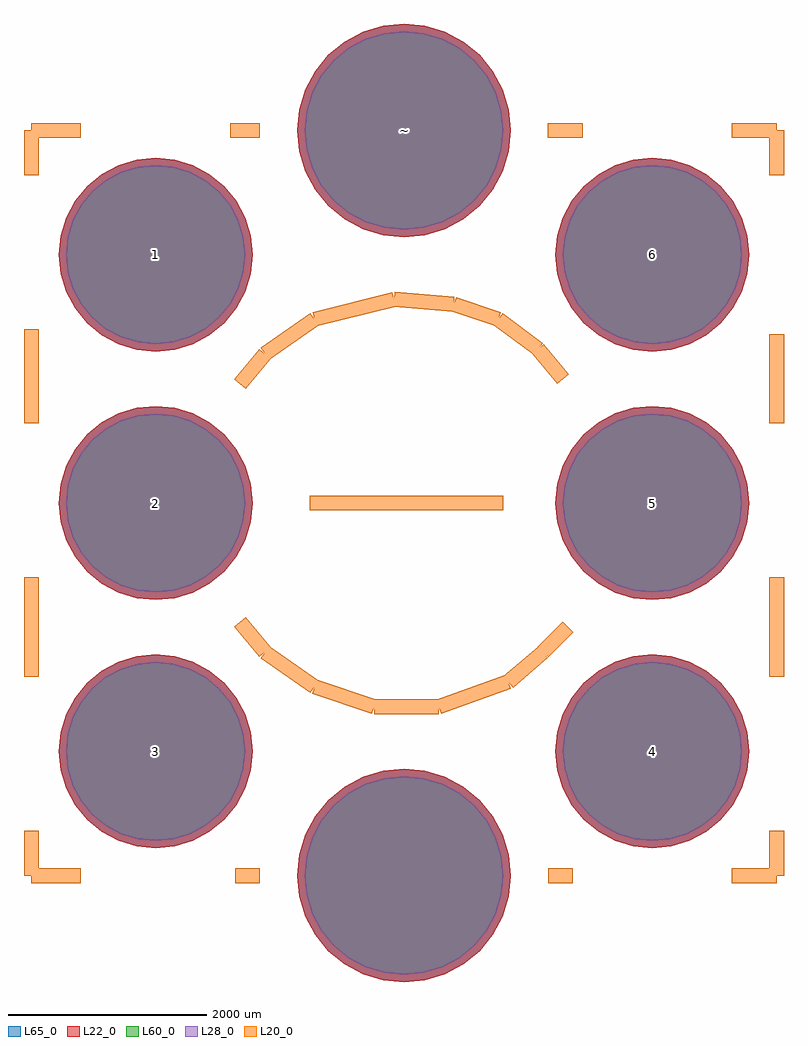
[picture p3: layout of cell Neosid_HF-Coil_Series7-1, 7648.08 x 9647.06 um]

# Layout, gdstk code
import gdstk
lib = gdstk.Library(unit=1e-6, precision=1e-09)
def P(c, l, *ps):  # polygons
    for p in ps: c.add(gdstk.Polygon(p, *l))
L20_0 = (20, 0)
L22_0 = (22, 0)
L28_0 = (28, 0)
L60_0 = (60, 0)
L65_0 = (65, 0)

neosid_hf_coil_series7_1 = lib.new_cell('Neosid_HF-Coil_Series7-1')
P(neosid_hf_coil_series7_1, L22_0, [(1074.49,-3749.04),(1053.844,-3539.417),(992.699,-3337.85),(893.406,-3152.085),(759.779,-2989.261),(596.955,-2855.634),(411.19,-2756.341),(209.623,-2695.196),(0,-2674.55),(-209.623,-2695.196),(-411.19,-2756.341),(-596.955,-2855.634),(-759.779,-2989.261),(-893.406,-3152.085),(-992.699,-3337.85),(-1053.844,-3539.417),(-1074.49,-3749.04),(-1053.844,-3958.663),(-992.699,-4160.23),(-893.406,-4345.995),(-759.779,-4508.819),(-596.955,-4642.446),(-411.19,-4741.739),(-209.623,-4802.884),(0,-4823.53),(209.623,-4802.884),(411.19,-4741.739),(596.955,-4642.446),(759.779,-4508.819),(893.406,-4345.995),(992.699,-4160.23),(1053.844,-3958.663)],
  [(1074.49,3749.04),(1053.844,3958.663),(992.699,4160.23),(893.406,4345.995),(759.779,4508.819),(596.955,4642.446),(411.19,4741.739),(209.623,4802.884),(0,4823.53),(-209.623,4802.884),(-411.19,4741.739),(-596.955,4642.446),(-759.779,4508.819),(-893.406,4345.995),(-992.699,4160.23),(-1053.844,3958.663),(-1074.49,3749.04),(-1053.844,3539.417),(-992.699,3337.85),(-893.406,3152.085),(-759.779,2989.261),(-596.955,2855.634),(-411.19,2756.341),(-209.623,2695.196),(0,2674.55),(209.623,2695.196),(411.19,2756.341),(596.955,2855.634),(759.779,2989.261),(893.406,3152.085),(992.699,3337.85),(1053.844,3539.417)],
  [(3474.79,-2499.36),(3456.047,-2309.063),(3400.54,-2126.079),(3310.4,-1957.44),(3189.093,-1809.627),(3041.28,-1688.32),(2872.641,-1598.18),(2689.657,-1542.673),(2499.36,-1523.93),(2309.063,-1542.673),(2126.079,-1598.18),(1957.44,-1688.32),(1809.627,-1809.627),(1688.32,-1957.44),(1598.18,-2126.079),(1542.673,-2309.063),(1523.93,-2499.36),(1542.673,-2689.657),(1598.18,-2872.641),(1688.32,-3041.28),(1809.627,-3189.093),(1957.44,-3310.4),(2126.079,-3400.54),(2309.063,-3456.047),(2499.36,-3474.79),(2689.657,-3456.047),(2872.641,-3400.54),(3041.28,-3310.4),(3189.093,-3189.093),(3310.4,-3041.28),(3400.54,-2872.641),(3456.047,-2689.657)],
  [(3474.79,0),(3456.047,190.297),(3400.54,373.281),(3310.4,541.92),(3189.093,689.733),(3041.28,811.04),(2872.641,901.18),(2689.657,956.687),(2499.36,975.43),(2309.063,956.687),(2126.079,901.18),(1957.44,811.04),(1809.627,689.733),(1688.32,541.92),(1598.18,373.281),(1542.673,190.297),(1523.93,0),(1542.673,-190.297),(1598.18,-373.281),(1688.32,-541.92),(1809.627,-689.733),(1957.44,-811.04),(2126.079,-901.18),(2309.063,-956.687),(2499.36,-975.43),(2689.657,-956.687),(2872.641,-901.18),(3041.28,-811.04),(3189.093,-689.733),(3310.4,-541.92),(3400.54,-373.281),(3456.047,-190.297)],
  [(3474.79,2499.36),(3456.047,2689.657),(3400.54,2872.641),(3310.4,3041.28),(3189.093,3189.093),(3041.28,3310.4),(2872.641,3400.54),(2689.657,3456.047),(2499.36,3474.79),(2309.063,3456.047),(2126.079,3400.54),(1957.44,3310.4),(1809.627,3189.093),(1688.32,3041.28),(1598.18,2872.641),(1542.673,2689.657),(1523.93,2499.36),(1542.673,2309.063),(1598.18,2126.079),(1688.32,1957.44),(1809.627,1809.627),(1957.44,1688.32),(2126.079,1598.18),(2309.063,1542.673),(2499.36,1523.93),(2689.657,1542.673),(2872.641,1598.18),(3041.28,1688.32),(3189.093,1809.627),(3310.4,1957.44),(3400.54,2126.079),(3456.047,2309.063)],
  [(-1523.93,-2499.36),(-1542.673,-2309.063),(-1598.18,-2126.079),(-1688.32,-1957.44),(-1809.627,-1809.627),(-1957.44,-1688.32),(-2126.079,-1598.18),(-2309.063,-1542.673),(-2499.36,-1523.93),(-2689.657,-1542.673),(-2872.641,-1598.18),(-3041.28,-1688.32),(-3189.093,-1809.627),(-3310.4,-1957.44),(-3400.54,-2126.079),(-3456.047,-2309.063),(-3474.79,-2499.36),(-3456.047,-2689.657),(-3400.54,-2872.641),(-3310.4,-3041.28),(-3189.093,-3189.093),(-3041.28,-3310.4),(-2872.641,-3400.54),(-2689.657,-3456.047),(-2499.36,-3474.79),(-2309.063,-3456.047),(-2126.079,-3400.54),(-1957.44,-3310.4),(-1809.627,-3189.093),(-1688.32,-3041.28),(-1598.18,-2872.641),(-1542.673,-2689.657)],
  [(-1523.93,0),(-1542.673,190.297),(-1598.18,373.281),(-1688.32,541.92),(-1809.627,689.733),(-1957.44,811.04),(-2126.079,901.18),(-2309.063,956.687),(-2499.36,975.43),(-2689.657,956.687),(-2872.641,901.18),(-3041.28,811.04),(-3189.093,689.733),(-3310.4,541.92),(-3400.54,373.281),(-3456.047,190.297),(-3474.79,0),(-3456.047,-190.297),(-3400.54,-373.281),(-3310.4,-541.92),(-3189.093,-689.733),(-3041.28,-811.04),(-2872.641,-901.18),(-2689.657,-956.687),(-2499.36,-975.43),(-2309.063,-956.687),(-2126.079,-901.18),(-1957.44,-811.04),(-1809.627,-689.733),(-1688.32,-541.92),(-1598.18,-373.281),(-1542.673,-190.297)],
  [(-1523.93,2499.36),(-1542.673,2689.657),(-1598.18,2872.641),(-1688.32,3041.28),(-1809.627,3189.093),(-1957.44,3310.4),(-2126.079,3400.54),(-2309.063,3456.047),(-2499.36,3474.79),(-2689.657,3456.047),(-2872.641,3400.54),(-3041.28,3310.4),(-3189.093,3189.093),(-3310.4,3041.28),(-3400.54,2872.641),(-3456.047,2689.657),(-3474.79,2499.36),(-3456.047,2309.063),(-3400.54,2126.079),(-3310.4,1957.44),(-3189.093,1809.627),(-3041.28,1688.32),(-2872.641,1598.18),(-2689.657,1542.673),(-2499.36,1523.93),(-2309.063,1542.673),(-2126.079,1598.18),(-1957.44,1688.32),(-1809.627,1809.627),(-1688.32,1957.44),(-1598.18,2126.079),(-1542.673,2309.063)])
P(neosid_hf_coil_series7_1, L28_0, [(999.49,-3749.04),(980.285,-3554.049),(923.408,-3366.552),(831.046,-3193.753),(706.746,-3042.294),(555.287,-2917.994),(382.488,-2825.632),(194.991,-2768.755),(0,-2749.55),(-194.991,-2768.755),(-382.488,-2825.632),(-555.287,-2917.994),(-706.746,-3042.294),(-831.046,-3193.753),(-923.408,-3366.552),(-980.285,-3554.049),(-999.49,-3749.04),(-980.285,-3944.031),(-923.408,-4131.528),(-831.046,-4304.327),(-706.746,-4455.786),(-555.287,-4580.086),(-382.488,-4672.448),(-194.991,-4729.325),(0,-4748.53),(194.991,-4729.325),(382.488,-4672.448),(555.287,-4580.086),(706.746,-4455.786),(831.046,-4304.327),(923.408,-4131.528),(980.285,-3944.031)],
  [(999.49,3749.04),(980.285,3944.031),(923.408,4131.528),(831.046,4304.327),(706.746,4455.786),(555.287,4580.086),(382.488,4672.448),(194.991,4729.325),(0,4748.53),(-194.991,4729.325),(-382.488,4672.448),(-555.287,4580.086),(-706.746,4455.786),(-831.046,4304.327),(-923.408,4131.528),(-980.285,3944.031),(-999.49,3749.04),(-980.285,3554.049),(-923.408,3366.552),(-831.046,3193.753),(-706.746,3042.294),(-555.287,2917.994),(-382.488,2825.632),(-194.991,2768.755),(0,2749.55),(194.991,2768.755),(382.488,2825.632),(555.287,2917.994),(706.746,3042.294),(831.046,3193.753),(923.408,3366.552),(980.285,3554.049)],
  [(3399.79,-2499.36),(3382.488,-2323.695),(3331.249,-2154.78),(3248.04,-1999.108),(3136.06,-1862.66),(2999.612,-1750.68),(2843.94,-1667.471),(2675.025,-1616.232),(2499.36,-1598.93),(2323.695,-1616.232),(2154.78,-1667.471),(1999.108,-1750.68),(1862.66,-1862.66),(1750.68,-1999.108),(1667.471,-2154.78),(1616.232,-2323.695),(1598.93,-2499.36),(1616.232,-2675.025),(1667.471,-2843.94),(1750.68,-2999.612),(1862.66,-3136.06),(1999.108,-3248.04),(2154.78,-3331.249),(2323.695,-3382.488),(2499.36,-3399.79),(2675.025,-3382.488),(2843.94,-3331.249),(2999.612,-3248.04),(3136.06,-3136.06),(3248.04,-2999.612),(3331.249,-2843.94),(3382.488,-2675.025)],
  [(3399.79,0),(3382.488,175.665),(3331.249,344.58),(3248.04,500.252),(3136.06,636.7),(2999.612,748.68),(2843.94,831.889),(2675.025,883.128),(2499.36,900.43),(2323.695,883.128),(2154.78,831.889),(1999.108,748.68),(1862.66,636.7),(1750.68,500.252),(1667.471,344.58),(1616.232,175.665),(1598.93,0),(1616.232,-175.665),(1667.471,-344.58),(1750.68,-500.252),(1862.66,-636.7),(1999.108,-748.68),(2154.78,-831.889),(2323.695,-883.128),(2499.36,-900.43),(2675.025,-883.128),(2843.94,-831.889),(2999.612,-748.68),(3136.06,-636.7),(3248.04,-500.252),(3331.249,-344.58),(3382.488,-175.665)],
  [(3399.79,2499.36),(3382.488,2675.025),(3331.249,2843.94),(3248.04,2999.612),(3136.06,3136.06),(2999.612,3248.04),(2843.94,3331.249),(2675.025,3382.488),(2499.36,3399.79),(2323.695,3382.488),(2154.78,3331.249),(1999.108,3248.04),(1862.66,3136.06),(1750.68,2999.612),(1667.471,2843.94),(1616.232,2675.025),(1598.93,2499.36),(1616.232,2323.695),(1667.471,2154.78),(1750.68,1999.108),(1862.66,1862.66),(1999.108,1750.68),(2154.78,1667.471),(2323.695,1616.232),(2499.36,1598.93),(2675.025,1616.232),(2843.94,1667.471),(2999.612,1750.68),(3136.06,1862.66),(3248.04,1999.108),(3331.249,2154.78),(3382.488,2323.695)],
  [(-1598.93,-2499.36),(-1616.232,-2323.695),(-1667.471,-2154.78),(-1750.68,-1999.108),(-1862.66,-1862.66),(-1999.108,-1750.68),(-2154.78,-1667.471),(-2323.695,-1616.232),(-2499.36,-1598.93),(-2675.025,-1616.232),(-2843.94,-1667.471),(-2999.612,-1750.68),(-3136.06,-1862.66),(-3248.04,-1999.108),(-3331.249,-2154.78),(-3382.488,-2323.695),(-3399.79,-2499.36),(-3382.488,-2675.025),(-3331.249,-2843.94),(-3248.04,-2999.612),(-3136.06,-3136.06),(-2999.612,-3248.04),(-2843.94,-3331.249),(-2675.025,-3382.488),(-2499.36,-3399.79),(-2323.695,-3382.488),(-2154.78,-3331.249),(-1999.108,-3248.04),(-1862.66,-3136.06),(-1750.68,-2999.612),(-1667.471,-2843.94),(-1616.232,-2675.025)],
  [(-1598.93,0),(-1616.232,175.665),(-1667.471,344.58),(-1750.68,500.252),(-1862.66,636.7),(-1999.108,748.68),(-2154.78,831.889),(-2323.695,883.128),(-2499.36,900.43),(-2675.025,883.128),(-2843.94,831.889),(-2999.612,748.68),(-3136.06,636.7),(-3248.04,500.252),(-3331.249,344.58),(-3382.488,175.665),(-3399.79,0),(-3382.488,-175.665),(-3331.249,-344.58),(-3248.04,-500.252),(-3136.06,-636.7),(-2999.612,-748.68),(-2843.94,-831.889),(-2675.025,-883.128),(-2499.36,-900.43),(-2323.695,-883.128),(-2154.78,-831.889),(-1999.108,-748.68),(-1862.66,-636.7),(-1750.68,-500.252),(-1667.471,-344.58),(-1616.232,-175.665)],
  [(-1598.93,2499.36),(-1616.232,2675.025),(-1667.471,2843.94),(-1750.68,2999.612),(-1862.66,3136.06),(-1999.108,3248.04),(-2154.78,3331.249),(-2323.695,3382.488),(-2499.36,3399.79),(-2675.025,3382.488),(-2843.94,3331.249),(-2999.612,3248.04),(-3136.06,3136.06),(-3248.04,2999.612),(-3331.249,2843.94),(-3382.488,2675.025),(-3399.79,2499.36),(-3382.488,2323.695),(-3331.249,2154.78),(-3248.04,1999.108),(-3136.06,1862.66),(-2999.612,1750.68),(-2843.94,1667.471),(-2675.025,1616.232),(-2499.36,1598.93),(-2323.695,1616.232),(-2154.78,1667.471),(-1999.108,1750.68),(-1862.66,1862.66),(-1750.68,1999.108),(-1667.471,2154.78),(-1616.232,2323.695)])
P(neosid_hf_coil_series7_1, L60_0, [(999.49,-3749.04),(980.285,-3554.049),(923.408,-3366.552),(831.046,-3193.753),(706.746,-3042.294),(555.287,-2917.994),(382.488,-2825.632),(194.991,-2768.755),(0,-2749.55),(-194.991,-2768.755),(-382.488,-2825.632),(-555.287,-2917.994),(-706.746,-3042.294),(-831.046,-3193.753),(-923.408,-3366.552),(-980.285,-3554.049),(-999.49,-3749.04),(-980.285,-3944.031),(-923.408,-4131.528),(-831.046,-4304.327),(-706.746,-4455.786),(-555.287,-4580.086),(-382.488,-4672.448),(-194.991,-4729.325),(0,-4748.53),(194.991,-4729.325),(382.488,-4672.448),(555.287,-4580.086),(706.746,-4455.786),(831.046,-4304.327),(923.408,-4131.528),(980.285,-3944.031)],
  [(999.49,3749.04),(980.285,3944.031),(923.408,4131.528),(831.046,4304.327),(706.746,4455.786),(555.287,4580.086),(382.488,4672.448),(194.991,4729.325),(0,4748.53),(-194.991,4729.325),(-382.488,4672.448),(-555.287,4580.086),(-706.746,4455.786),(-831.046,4304.327),(-923.408,4131.528),(-980.285,3944.031),(-999.49,3749.04),(-980.285,3554.049),(-923.408,3366.552),(-831.046,3193.753),(-706.746,3042.294),(-555.287,2917.994),(-382.488,2825.632),(-194.991,2768.755),(0,2749.55),(194.991,2768.755),(382.488,2825.632),(555.287,2917.994),(706.746,3042.294),(831.046,3193.753),(923.408,3366.552),(980.285,3554.049)],
  [(3399.79,-2499.36),(3382.488,-2323.695),(3331.249,-2154.78),(3248.04,-1999.108),(3136.06,-1862.66),(2999.612,-1750.68),(2843.94,-1667.471),(2675.025,-1616.232),(2499.36,-1598.93),(2323.695,-1616.232),(2154.78,-1667.471),(1999.108,-1750.68),(1862.66,-1862.66),(1750.68,-1999.108),(1667.471,-2154.78),(1616.232,-2323.695),(1598.93,-2499.36),(1616.232,-2675.025),(1667.471,-2843.94),(1750.68,-2999.612),(1862.66,-3136.06),(1999.108,-3248.04),(2154.78,-3331.249),(2323.695,-3382.488),(2499.36,-3399.79),(2675.025,-3382.488),(2843.94,-3331.249),(2999.612,-3248.04),(3136.06,-3136.06),(3248.04,-2999.612),(3331.249,-2843.94),(3382.488,-2675.025)],
  [(3399.79,0),(3382.488,175.665),(3331.249,344.58),(3248.04,500.252),(3136.06,636.7),(2999.612,748.68),(2843.94,831.889),(2675.025,883.128),(2499.36,900.43),(2323.695,883.128),(2154.78,831.889),(1999.108,748.68),(1862.66,636.7),(1750.68,500.252),(1667.471,344.58),(1616.232,175.665),(1598.93,0),(1616.232,-175.665),(1667.471,-344.58),(1750.68,-500.252),(1862.66,-636.7),(1999.108,-748.68),(2154.78,-831.889),(2323.695,-883.128),(2499.36,-900.43),(2675.025,-883.128),(2843.94,-831.889),(2999.612,-748.68),(3136.06,-636.7),(3248.04,-500.252),(3331.249,-344.58),(3382.488,-175.665)],
  [(3399.79,2499.36),(3382.488,2675.025),(3331.249,2843.94),(3248.04,2999.612),(3136.06,3136.06),(2999.612,3248.04),(2843.94,3331.249),(2675.025,3382.488),(2499.36,3399.79),(2323.695,3382.488),(2154.78,3331.249),(1999.108,3248.04),(1862.66,3136.06),(1750.68,2999.612),(1667.471,2843.94),(1616.232,2675.025),(1598.93,2499.36),(1616.232,2323.695),(1667.471,2154.78),(1750.68,1999.108),(1862.66,1862.66),(1999.108,1750.68),(2154.78,1667.471),(2323.695,1616.232),(2499.36,1598.93),(2675.025,1616.232),(2843.94,1667.471),(2999.612,1750.68),(3136.06,1862.66),(3248.04,1999.108),(3331.249,2154.78),(3382.488,2323.695)],
  [(-1598.93,-2499.36),(-1616.232,-2323.695),(-1667.471,-2154.78),(-1750.68,-1999.108),(-1862.66,-1862.66),(-1999.108,-1750.68),(-2154.78,-1667.471),(-2323.695,-1616.232),(-2499.36,-1598.93),(-2675.025,-1616.232),(-2843.94,-1667.471),(-2999.612,-1750.68),(-3136.06,-1862.66),(-3248.04,-1999.108),(-3331.249,-2154.78),(-3382.488,-2323.695),(-3399.79,-2499.36),(-3382.488,-2675.025),(-3331.249,-2843.94),(-3248.04,-2999.612),(-3136.06,-3136.06),(-2999.612,-3248.04),(-2843.94,-3331.249),(-2675.025,-3382.488),(-2499.36,-3399.79),(-2323.695,-3382.488),(-2154.78,-3331.249),(-1999.108,-3248.04),(-1862.66,-3136.06),(-1750.68,-2999.612),(-1667.471,-2843.94),(-1616.232,-2675.025)],
  [(-1598.93,0),(-1616.232,175.665),(-1667.471,344.58),(-1750.68,500.252),(-1862.66,636.7),(-1999.108,748.68),(-2154.78,831.889),(-2323.695,883.128),(-2499.36,900.43),(-2675.025,883.128),(-2843.94,831.889),(-2999.612,748.68),(-3136.06,636.7),(-3248.04,500.252),(-3331.249,344.58),(-3382.488,175.665),(-3399.79,0),(-3382.488,-175.665),(-3331.249,-344.58),(-3248.04,-500.252),(-3136.06,-636.7),(-2999.612,-748.68),(-2843.94,-831.889),(-2675.025,-883.128),(-2499.36,-900.43),(-2323.695,-883.128),(-2154.78,-831.889),(-1999.108,-748.68),(-1862.66,-636.7),(-1750.68,-500.252),(-1667.471,-344.58),(-1616.232,-175.665)],
  [(-1598.93,2499.36),(-1616.232,2675.025),(-1667.471,2843.94),(-1750.68,2999.612),(-1862.66,3136.06),(-1999.108,3248.04),(-2154.78,3331.249),(-2323.695,3382.488),(-2499.36,3399.79),(-2675.025,3382.488),(-2843.94,3331.249),(-2999.612,3248.04),(-3136.06,3136.06),(-3248.04,2999.612),(-3331.249,2843.94),(-3382.488,2675.025),(-3399.79,2499.36),(-3382.488,2323.695),(-3331.249,2154.78),(-3248.04,1999.108),(-3136.06,1862.66),(-2999.612,1750.68),(-2843.94,1667.471),(-2675.025,1616.232),(-2499.36,1598.93),(-2323.695,1616.232),(-2154.78,1667.471),(-1999.108,1750.68),(-1862.66,1862.66),(-1750.68,1999.108),(-1667.471,2154.78),(-1616.232,2323.695)])
P(neosid_hf_coil_series7_1, L65_0, [(1074.49,-3749.04),(1053.844,-3539.417),(992.699,-3337.85),(893.406,-3152.085),(759.779,-2989.261),(596.955,-2855.634),(411.19,-2756.341),(209.623,-2695.196),(0,-2674.55),(-209.623,-2695.196),(-411.19,-2756.341),(-596.955,-2855.634),(-759.779,-2989.261),(-893.406,-3152.085),(-992.699,-3337.85),(-1053.844,-3539.417),(-1074.49,-3749.04),(-1053.844,-3958.663),(-992.699,-4160.23),(-893.406,-4345.995),(-759.779,-4508.819),(-596.955,-4642.446),(-411.19,-4741.739),(-209.623,-4802.884),(0,-4823.53),(209.623,-4802.884),(411.19,-4741.739),(596.955,-4642.446),(759.779,-4508.819),(893.406,-4345.995),(992.699,-4160.23),(1053.844,-3958.663)],
  [(1074.49,3749.04),(1053.844,3958.663),(992.699,4160.23),(893.406,4345.995),(759.779,4508.819),(596.955,4642.446),(411.19,4741.739),(209.623,4802.884),(0,4823.53),(-209.623,4802.884),(-411.19,4741.739),(-596.955,4642.446),(-759.779,4508.819),(-893.406,4345.995),(-992.699,4160.23),(-1053.844,3958.663),(-1074.49,3749.04),(-1053.844,3539.417),(-992.699,3337.85),(-893.406,3152.085),(-759.779,2989.261),(-596.955,2855.634),(-411.19,2756.341),(-209.623,2695.196),(0,2674.55),(209.623,2695.196),(411.19,2756.341),(596.955,2855.634),(759.779,2989.261),(893.406,3152.085),(992.699,3337.85),(1053.844,3539.417)],
  [(3474.79,-2499.36),(3456.047,-2309.063),(3400.54,-2126.079),(3310.4,-1957.44),(3189.093,-1809.627),(3041.28,-1688.32),(2872.641,-1598.18),(2689.657,-1542.673),(2499.36,-1523.93),(2309.063,-1542.673),(2126.079,-1598.18),(1957.44,-1688.32),(1809.627,-1809.627),(1688.32,-1957.44),(1598.18,-2126.079),(1542.673,-2309.063),(1523.93,-2499.36),(1542.673,-2689.657),(1598.18,-2872.641),(1688.32,-3041.28),(1809.627,-3189.093),(1957.44,-3310.4),(2126.079,-3400.54),(2309.063,-3456.047),(2499.36,-3474.79),(2689.657,-3456.047),(2872.641,-3400.54),(3041.28,-3310.4),(3189.093,-3189.093),(3310.4,-3041.28),(3400.54,-2872.641),(3456.047,-2689.657)],
  [(3474.79,0),(3456.047,190.297),(3400.54,373.281),(3310.4,541.92),(3189.093,689.733),(3041.28,811.04),(2872.641,901.18),(2689.657,956.687),(2499.36,975.43),(2309.063,956.687),(2126.079,901.18),(1957.44,811.04),(1809.627,689.733),(1688.32,541.92),(1598.18,373.281),(1542.673,190.297),(1523.93,0),(1542.673,-190.297),(1598.18,-373.281),(1688.32,-541.92),(1809.627,-689.733),(1957.44,-811.04),(2126.079,-901.18),(2309.063,-956.687),(2499.36,-975.43),(2689.657,-956.687),(2872.641,-901.18),(3041.28,-811.04),(3189.093,-689.733),(3310.4,-541.92),(3400.54,-373.281),(3456.047,-190.297)],
  [(3474.79,2499.36),(3456.047,2689.657),(3400.54,2872.641),(3310.4,3041.28),(3189.093,3189.093),(3041.28,3310.4),(2872.641,3400.54),(2689.657,3456.047),(2499.36,3474.79),(2309.063,3456.047),(2126.079,3400.54),(1957.44,3310.4),(1809.627,3189.093),(1688.32,3041.28),(1598.18,2872.641),(1542.673,2689.657),(1523.93,2499.36),(1542.673,2309.063),(1598.18,2126.079),(1688.32,1957.44),(1809.627,1809.627),(1957.44,1688.32),(2126.079,1598.18),(2309.063,1542.673),(2499.36,1523.93),(2689.657,1542.673),(2872.641,1598.18),(3041.28,1688.32),(3189.093,1809.627),(3310.4,1957.44),(3400.54,2126.079),(3456.047,2309.063)],
  [(-1523.93,-2499.36),(-1542.673,-2309.063),(-1598.18,-2126.079),(-1688.32,-1957.44),(-1809.627,-1809.627),(-1957.44,-1688.32),(-2126.079,-1598.18),(-2309.063,-1542.673),(-2499.36,-1523.93),(-2689.657,-1542.673),(-2872.641,-1598.18),(-3041.28,-1688.32),(-3189.093,-1809.627),(-3310.4,-1957.44),(-3400.54,-2126.079),(-3456.047,-2309.063),(-3474.79,-2499.36),(-3456.047,-2689.657),(-3400.54,-2872.641),(-3310.4,-3041.28),(-3189.093,-3189.093),(-3041.28,-3310.4),(-2872.641,-3400.54),(-2689.657,-3456.047),(-2499.36,-3474.79),(-2309.063,-3456.047),(-2126.079,-3400.54),(-1957.44,-3310.4),(-1809.627,-3189.093),(-1688.32,-3041.28),(-1598.18,-2872.641),(-1542.673,-2689.657)],
  [(-1523.93,0),(-1542.673,190.297),(-1598.18,373.281),(-1688.32,541.92),(-1809.627,689.733),(-1957.44,811.04),(-2126.079,901.18),(-2309.063,956.687),(-2499.36,975.43),(-2689.657,956.687),(-2872.641,901.18),(-3041.28,811.04),(-3189.093,689.733),(-3310.4,541.92),(-3400.54,373.281),(-3456.047,190.297),(-3474.79,0),(-3456.047,-190.297),(-3400.54,-373.281),(-3310.4,-541.92),(-3189.093,-689.733),(-3041.28,-811.04),(-2872.641,-901.18),(-2689.657,-956.687),(-2499.36,-975.43),(-2309.063,-956.687),(-2126.079,-901.18),(-1957.44,-811.04),(-1809.627,-689.733),(-1688.32,-541.92),(-1598.18,-373.281),(-1542.673,-190.297)],
  [(-1523.93,2499.36),(-1542.673,2689.657),(-1598.18,2872.641),(-1688.32,3041.28),(-1809.627,3189.093),(-1957.44,3310.4),(-2126.079,3400.54),(-2309.063,3456.047),(-2499.36,3474.79),(-2689.657,3456.047),(-2872.641,3400.54),(-3041.28,3310.4),(-3189.093,3189.093),(-3310.4,3041.28),(-3400.54,2872.641),(-3456.047,2689.657),(-3474.79,2499.36),(-3456.047,2309.063),(-3400.54,2126.079),(-3310.4,1957.44),(-3189.093,1809.627),(-3041.28,1688.32),(-2872.641,1598.18),(-2689.657,1542.673),(-2499.36,1523.93),(-2309.063,1542.673),(-2126.079,1598.18),(-1957.44,1688.32),(-1809.627,1809.627),(-1688.32,1957.44),(-1598.18,2126.079),(-1542.673,2309.063)])
neosid_hf_coil_series7_1.add(gdstk.FlexPath([(3749.04,3749.04),(3299.46,3749.04)], 149.998, ends="flush", simple_path=True, layer=20, datatype=0))  # L20_0
neosid_hf_coil_series7_1.add(gdstk.FlexPath([(1651,3749.04),(1800.86,3749.04)], 149.998, ends="flush", simple_path=True, layer=20, datatype=0))  # L20_0
neosid_hf_coil_series7_1.add(gdstk.FlexPath([(1549.4,3749.04),(1651,3749.04)], 149.998, ends="flush", simple_path=True, layer=20, datatype=0))  # L20_0
neosid_hf_coil_series7_1.add(gdstk.FlexPath([(1699.26,3749.04),(1447.8,3749.04)], 149.998, ends="flush", simple_path=True, layer=20, datatype=0))  # L20_0
neosid_hf_coil_series7_1.add(gdstk.FlexPath([(-1450.34,3749.04),(-1750.06,3749.04)], 149.998, ends="flush", simple_path=True, layer=20, datatype=0))  # L20_0
neosid_hf_coil_series7_1.add(gdstk.FlexPath([(-3749.04,3749.04),(-3251.2,3749.04)], 149.998, ends="flush", simple_path=True, layer=20, datatype=0))  # L20_0
neosid_hf_coil_series7_1.add(gdstk.FlexPath([(-3749.04,3749.04),(-3749.04,3299.46)], 149.998, ends="flush", simple_path=True, layer=20, datatype=0))  # L20_0
neosid_hf_coil_series7_1.add(gdstk.FlexPath([(-3749.04,1249.68),(-3749.04,1750.06)], 149.998, ends="flush", simple_path=True, layer=20, datatype=0))  # L20_0
neosid_hf_coil_series7_1.add(gdstk.FlexPath([(-3749.04,1249.68),(-3749.04,800.1)], 149.998, ends="flush", simple_path=True, layer=20, datatype=0))  # L20_0
neosid_hf_coil_series7_1.add(gdstk.FlexPath([(-3749.04,-1249.68),(-3749.04,-749.3)], 149.998, ends="flush", simple_path=True, layer=20, datatype=0))  # L20_0
neosid_hf_coil_series7_1.add(gdstk.FlexPath([(-3749.04,-1249.68),(-3749.04,-1750.06)], 149.998, ends="flush", simple_path=True, layer=20, datatype=0))  # L20_0
neosid_hf_coil_series7_1.add(gdstk.FlexPath([(-3749.04,-3749.04),(-3749.04,-3299.46)], 149.998, ends="flush", simple_path=True, layer=20, datatype=0))  # L20_0
neosid_hf_coil_series7_1.add(gdstk.FlexPath([(-3749.04,-3749.04),(-3251.2,-3749.04)], 149.998, ends="flush", simple_path=True, layer=20, datatype=0))  # L20_0
neosid_hf_coil_series7_1.add(gdstk.FlexPath([(-1699.26,-3749.04),(-1450.34,-3749.04)], 149.998, ends="flush", simple_path=True, layer=20, datatype=0))  # L20_0
neosid_hf_coil_series7_1.add(gdstk.FlexPath([(1450.34,-3749.04),(1699.26,-3749.04)], 149.998, ends="flush", simple_path=True, layer=20, datatype=0))  # L20_0
neosid_hf_coil_series7_1.add(gdstk.FlexPath([(3749.04,-3749.04),(3749.04,-3299.46)], 149.998, ends="flush", simple_path=True, layer=20, datatype=0))  # L20_0
neosid_hf_coil_series7_1.add(gdstk.FlexPath([(3749.04,-3749.04),(3299.46,-3749.04)], 149.998, ends="flush", simple_path=True, layer=20, datatype=0))  # L20_0
neosid_hf_coil_series7_1.add(gdstk.FlexPath([(3749.04,-1249.68),(3749.04,-749.3)], 149.998, ends="flush", simple_path=True, layer=20, datatype=0))  # L20_0
neosid_hf_coil_series7_1.add(gdstk.FlexPath([(3749.04,-1249.68),(3749.04,-1750.06)], 149.998, ends="flush", simple_path=True, layer=20, datatype=0))  # L20_0
neosid_hf_coil_series7_1.add(gdstk.FlexPath([(3749.04,1249.68),(3749.04,1699.26)], 149.998, ends="flush", simple_path=True, layer=20, datatype=0))  # L20_0
neosid_hf_coil_series7_1.add(gdstk.FlexPath([(3749.04,1249.68),(3749.04,800.1)], 149.998, ends="flush", simple_path=True, layer=20, datatype=0))  # L20_0
neosid_hf_coil_series7_1.add(gdstk.FlexPath([(3749.04,3749.04),(3749.04,3299.46)], 149.998, ends="flush", simple_path=True, layer=20, datatype=0))  # L20_0
neosid_hf_coil_series7_1.add(gdstk.FlexPath([(-1399.54,1501.14),(-1651,1198.88)], 149.998, ends="flush", simple_path=True, layer=20, datatype=0))  # L20_0
neosid_hf_coil_series7_1.add(gdstk.FlexPath([(-899.16,1849.12),(-1399.54,1501.14)], 149.998, ends="flush", simple_path=True, layer=20, datatype=0))  # L20_0
neosid_hf_coil_series7_1.add(gdstk.FlexPath([(-99.06,2049.78),(-899.16,1849.12)], 149.998, ends="flush", simple_path=True, layer=20, datatype=0))  # L20_0
neosid_hf_coil_series7_1.add(gdstk.FlexPath([(500.38,1998.98),(-99.06,2049.78)], 149.998, ends="flush", simple_path=True, layer=20, datatype=0))  # L20_0
neosid_hf_coil_series7_1.add(gdstk.FlexPath([(949.96,1849.12),(500.38,1998.98)], 149.998, ends="flush", simple_path=True, layer=20, datatype=0))  # L20_0
neosid_hf_coil_series7_1.add(gdstk.FlexPath([(1348.74,1549.4),(949.96,1849.12)], 149.998, ends="flush", simple_path=True, layer=20, datatype=0))  # L20_0
neosid_hf_coil_series7_1.add(gdstk.FlexPath([(1600.2,1249.68),(1348.74,1549.4)], 149.998, ends="flush", simple_path=True, layer=20, datatype=0))  # L20_0
neosid_hf_coil_series7_1.add(gdstk.FlexPath([(1399.54,-1501.14),(1651,-1249.68)], 149.998, ends="flush", simple_path=True, layer=20, datatype=0))  # L20_0
neosid_hf_coil_series7_1.add(gdstk.FlexPath([(1049.02,-1800.86),(1399.54,-1501.14)], 149.998, ends="flush", simple_path=True, layer=20, datatype=0))  # L20_0
neosid_hf_coil_series7_1.add(gdstk.FlexPath([(350.52,-2049.78),(1049.02,-1800.86)], 149.998, ends="flush", simple_path=True, layer=20, datatype=0))  # L20_0
neosid_hf_coil_series7_1.add(gdstk.FlexPath([(-299.72,-2049.78),(350.52,-2049.78)], 149.998, ends="flush", simple_path=True, layer=20, datatype=0))  # L20_0
neosid_hf_coil_series7_1.add(gdstk.FlexPath([(-899.16,-1849.12),(-299.72,-2049.78)], 149.998, ends="flush", simple_path=True, layer=20, datatype=0))  # L20_0
neosid_hf_coil_series7_1.add(gdstk.FlexPath([(-1399.54,-1501.14),(-899.16,-1849.12)], 149.998, ends="flush", simple_path=True, layer=20, datatype=0))  # L20_0
neosid_hf_coil_series7_1.add(gdstk.FlexPath([(-1651,-1198.88),(-1399.54,-1501.14)], 149.998, ends="flush", simple_path=True, layer=20, datatype=0))  # L20_0
neosid_hf_coil_series7_1.add(gdstk.FlexPath([(-949.96,0),(1000.76,0)], 149.998, ends="flush", simple_path=True, layer=20, datatype=0))  # L20_0
neosid_hf_coil_series7_1.add(gdstk.Label('~', (0,3749.04), layer=28, texttype=0))
neosid_hf_coil_series7_1.add(gdstk.Label('4', (2499.36,-2499.36), layer=28, texttype=0))
neosid_hf_coil_series7_1.add(gdstk.Label('5', (2499.36,0), layer=28, texttype=0))
neosid_hf_coil_series7_1.add(gdstk.Label('6', (2499.36,2499.36), layer=28, texttype=0))
neosid_hf_coil_series7_1.add(gdstk.Label('3', (-2499.36,-2499.36), layer=28, texttype=0))
neosid_hf_coil_series7_1.add(gdstk.Label('2', (-2499.36,0), layer=28, texttype=0))
neosid_hf_coil_series7_1.add(gdstk.Label('1', (-2499.36,2499.36), layer=28, texttype=0))
neosid_hf_coil_series7_1.add(gdstk.Label('type', (-650.24,-6550.66), layer=9, texttype=0))
neosid_hf_coil_series7_1.add(gdstk.Label('devicename', (200.66,6200.14), layer=9, texttype=0))

lib.write_gds('Neosid_HF-Coil_Series7-1.gds')
